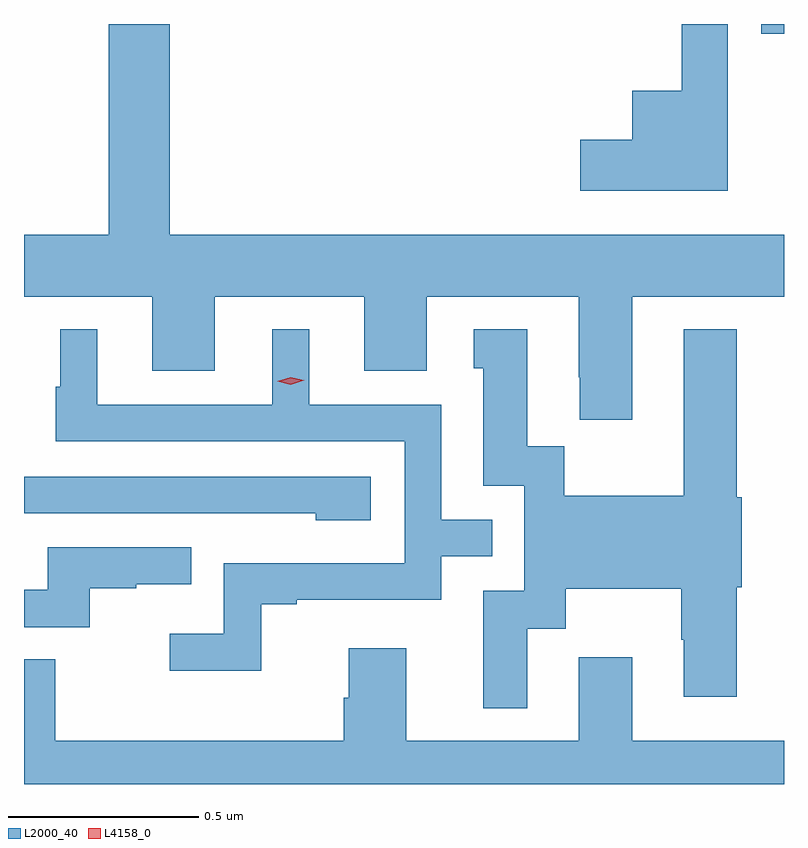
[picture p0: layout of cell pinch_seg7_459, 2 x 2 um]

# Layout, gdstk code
import gdstk
lib = gdstk.Library(unit=1e-6, precision=1e-09)
def R(c, l, rs):  # rectangles x0, y0, x1, y1
    for r in rs: c.add(gdstk.rectangle(r[:2], r[2:], *l))
def P(c, l, *ps):  # polygons
    for p in ps: c.add(gdstk.Polygon(p, *l))
L2000_40 = (2000, 40)
L4158_0 = (4158, 0)

pinch_seg7_459 = lib.new_cell('pinch_seg7_459')
R(pinch_seg7_459, L2000_40, [(271.151,1045.265,271.211,1045.29)])
P(pinch_seg7_459, L2000_40, [(270.811,1044.572),(271.211,1044.572),(271.211,1044.736),(269.594,1044.736),(269.594,1045.29),(269.434,1045.29),(269.434,1044.736),(269.211,1044.736),(269.211,1044.572),(269.549,1044.572),(269.549,1044.378),(269.713,1044.378),(269.713,1044.572),(270.107,1044.572),(270.107,1044.378),(270.271,1044.378),(270.271,1044.572),(270.671,1044.572),(270.671,1044.361),(270.674,1044.361),(270.674,1044.249),(270.811,1044.249)],
  [(271.063,1045.29),(270.942,1045.29),(270.942,1045.114),(270.812,1045.114),(270.812,1044.986),(270.675,1044.986),(270.675,1044.851),(271.063,1044.851)],
  [(269.835,1043.763),(269.929,1043.763),(269.929,1043.775),(270.309,1043.775),(270.309,1043.889),(270.443,1043.889),(270.443,1043.985),(270.309,1043.985),(270.309,1044.288),(269.962,1044.288),(269.962,1044.487),(269.864,1044.487),(269.864,1044.288),(269.404,1044.288),(269.404,1044.487),(269.306,1044.487),(269.306,1044.336),(269.295,1044.336),(269.295,1044.192),(270.213,1044.192),(270.213,1043.871),(269.736,1043.871),(269.736,1043.686),(269.595,1043.686),(269.595,1043.588),(269.835,1043.588)],
  [(270.535,1043.698),(270.637,1043.698),(270.637,1043.804),(270.94,1043.804),(270.94,1043.67),(270.947,1043.67),(270.947,1043.52),(271.087,1043.52),(271.087,1043.808),(271.1,1043.808),(271.1,1044.045),(271.087,1044.045),(271.087,1044.487),(270.947,1044.487),(270.947,1044.049),(270.633,1044.049),(270.633,1044.179),(270.535,1044.179),(270.535,1044.487),(270.395,1044.487),(270.395,1044.384),(270.419,1044.384),(270.419,1044.075),(270.528,1044.075),(270.528,1043.799),(270.419,1043.799),(270.419,1043.49),(270.535,1043.49)],
  [(270.124,1044.099),(269.211,1044.099),(269.211,1044.003),(269.743,1044.003),(269.743,1044.002),(269.979,1044.002),(269.979,1043.984),(270.124,1043.984)],
  [(269.384,1043.805),(269.507,1043.805),(269.507,1043.816),(269.651,1043.816),(269.651,1043.913),(269.274,1043.913),(269.274,1043.801),(269.211,1043.801),(269.211,1043.703),(269.384,1043.703)],
  [(271.211,1043.404),(270.811,1043.404),(270.811,1043.623),(270.671,1043.623),(270.671,1043.404),(270.217,1043.404),(270.217,1043.647),(270.065,1043.647),(270.065,1043.517),(270.053,1043.517),(270.053,1043.404),(269.293,1043.404),(269.293,1043.618),(269.211,1043.618),(269.211,1043.29),(271.211,1043.29)])
P(pinch_seg7_459, L4158_0, [(269.913,1044.341),(269.877,1044.35),(269.877,1044.35),(269.877,1044.35),(269.913,1044.361),(269.949,1044.352),(269.949,1044.352),(269.949,1044.352)])

lib.write_gds('pinch_seg7_459.gds')
